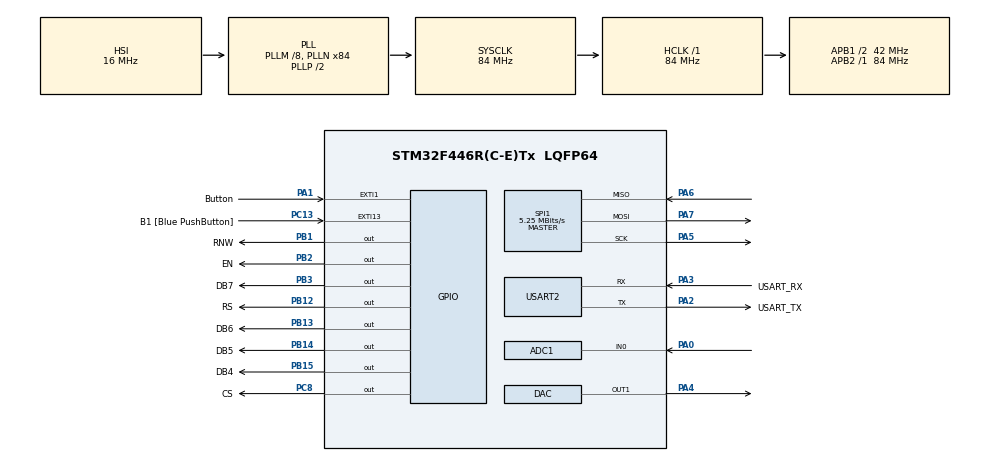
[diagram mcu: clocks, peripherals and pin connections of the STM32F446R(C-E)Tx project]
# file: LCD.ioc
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ADC1.Channel-0\#ChannelRegularConversion=ADC_CHANNEL_0
ADC1.ClockPrescaler=ADC_CLOCK_SYNC_PCLK_DIV8
ADC1.DMAContinuousRequests=ENABLE
ADC1.NbrOfConversionFlag=1
ADC1.Rank-0\#ChannelRegularConversion=1
ADC1.SamplingTime-0\#ChannelRegularConversion=ADC_SAMPLETIME_84CYCLES
ADC1.master=1
DAC.DAC_Trigger=DAC_TRIGGER_T6_TRGO
Dma.ADC1.0.Direction=DMA_PERIPH_TO_MEMORY
Dma.ADC1.0.FIFOMode=DMA_FIFOMODE_DISABLE
Dma.ADC1.0.Instance=DMA2_Stream0
Dma.ADC1.0.MemDataAlignment=DMA_MDATAALIGN_HALFWORD
Dma.ADC1.0.MemInc=DMA_MINC_ENABLE
Dma.ADC1.0.Mode=DMA_CIRCULAR
Dma.ADC1.0.PeriphDataAlignment=DMA_PDATAALIGN_HALFWORD
Dma.ADC1.0.PeriphInc=DMA_PINC_DISABLE
Dma.ADC1.0.Priority=DMA_PRIORITY_LOW
Dma.Request0=ADC1
FATFS._MAX_SS=4096
Mcu.Family=STM32F4
Mcu.Name=STM32F446R(C-E)Tx
Mcu.Package=LQFP64
NVIC.DMA2_Stream0_IRQn=true\:0\:0\:false\:false\:true\:false\:true
NVIC.EXTI15_10_IRQn=true\:0\:0\:false\:false\:true\:true\:true
NVIC.EXTI1_IRQn=true\:0\:0\:false\:false\:true\:true\:true
NVIC.PriorityGroup=NVIC_PRIORITYGROUP_0
NVIC.TIM6_DAC_IRQn=true\:0\:0\:false\:false\:true\:true\:true
PA0-WKUP.Signal=ADCx_IN0
PA1.GPIO_Label=Button
PA1.GPIO_ModeDefaultEXTI=GPIO_MODE_IT_FALLING
PA1.Signal=GPXTI1
PA13.GPIO_Label=TMS
PA13.Mode=Serial_Wire
PA13.Signal=SYS_JTMS-SWDIO
PA14.GPIO_Label=TCK
PA14.Mode=Serial_Wire
PA14.Signal=SYS_JTCK-SWCLK
PA2.GPIO_Label=USART_TX
PA2.Mode=Asynchronous
PA2.Signal=USART2_TX
PA3.GPIO_Label=USART_RX
PA3.Mode=Asynchronous
PA3.Signal=USART2_RX
PA4.Signal=COMP_DAC1_group
PA5.Mode=Full_Duplex_Master
PA5.Signal=SPI1_SCK
PA6.Mode=Full_Duplex_Master
PA6.Signal=SPI1_MISO
PA7.Mode=Full_Duplex_Master
PA7.Signal=SPI1_MOSI
PB1.GPIO_Label=RNW
PB1.Signal=GPIO_Output
PB12.GPIO_Label=RS
PB12.Signal=GPIO_Output
PB13.GPIO_Label=DB6
PB13.Signal=GPIO_Output
PB14.GPIO_Label=DB5
PB14.Signal=GPIO_Output
PB15.GPIO_Label=DB4
PB15.Signal=GPIO_Output
PB2.GPIO_Label=EN
PB2.Signal=GPIO_Output
PB3.GPIO_Label=DB7
PB3.Signal=GPIO_Output
PC13.GPIO_Label=B1 [Blue PushButton]
PC13.GPIO_ModeDefaultEXTI=GPIO_MODE_IT_FALLING
PC13.Signal=GPXTI13
PC14-OSC32_IN.Mode=LSE-External-Oscillator
PC14-OSC32_IN.Signal=RCC_OSC32_IN
PC15-OSC32_OUT.Mode=LSE-External-Oscillator
PC15-OSC32_OUT.Signal=RCC_OSC32_OUT
PC8.GPIO_Label=CS
PC8.Signal=GPIO_Output
PH0-OSC_IN.Mode=HSE-External-Oscillator
PH0-OSC_IN.Signal=RCC_OSC_IN
PH1-OSC_OUT.Mode=HSE-External-Oscillator
PH1-OSC_OUT.Signal=RCC_OSC_OUT
ProjectManager.HeapSize=0x200
ProjectManager.StackSize=0x400
ProjectManager.TargetToolchain=STM32CubeIDE
RCC.48MHZClocksFreq_Value=84000000
RCC.AHBFreq_Value=84000000
RCC.APB1CLKDivider=RCC_HCLK_DIV2
RCC.APB1Freq_Value=42000000
RCC.APB1TimFreq_Value=84000000
RCC.APB2Freq_Value=84000000
RCC.APB2TimFreq_Value=84000000
RCC.CortexFreq_Value=84000000
RCC.FLatency-AdvancedSettings=FLASH_LATENCY_2
RCC.HCLKFreq_Value=84000000
RCC.HSE_VALUE=8000000
RCC.HSI_VALUE=16000000
RCC.PLLM=8
RCC.PLLN=84
RCC.SYSCLKFreq_VALUE=84000000
RCC.SYSCLKSource=RCC_SYSCLKSOURCE_PLLCLK
RCC.USBFreq_Value=84000000
RCC.VCOOutputFreq_Value=168000000
SH.ADCx_IN0.0=ADC1_IN0,IN0
SH.COMP_DAC1_group.0=DAC_OUT1,DAC_OUT1
SPI1.BaudRatePrescaler=SPI_BAUDRATEPRESCALER_16
SPI1.CalculateBaudRate=5.25 MBits/s
SPI1.Direction=SPI_DIRECTION_2LINES
SPI1.Mode=SPI_MODE_MASTER
SPI1.VirtualType=VM_MASTER
TIM6.Period=167
TIM6.Prescaler=20000
TIM6.TIM_MasterOutputTrigger=TIM_TRGO_UPDATE
USART2.VirtualMode=VM_ASYNC
VP_FATFS_VS_Generic.Mode=User_defined
VP_TIM6_VS_ClockSourceINT.Mode=Enable_Timer
board=NUCLEO-F446RE

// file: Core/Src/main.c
/* USER CODE BEGIN Header */
/**
 ******************************************************************************
 * @file           : main.c
 * @brief          : Main program body
 ******************************************************************************
 * @attention
 *
 * <h2><center>&copy; Copyright (c) 2021 STMicroelectronics.
 * All rights reserved.</center></h2>
 *
 * This software component is licensed by ST under BSD 3-Clause license,
 * the "License"; You may not use this file except in compliance with the
 * License. You may obtain a copy of the License at:
 *                        opensource.org/licenses/BSD-3-Clause
 *
 ******************************************************************************
 */
/* USER CODE END Header */
#include "main.h"
#include "fatfs.h"

/* USER CODE BEGIN Includes */
#include "LiquidCrystal.h"
#include "stdio.h"
#include "stm32f4xx_hal.h"
#include "fatfs_sd.h"
#include "string.h"
#include "inttypes.h"
/* USER CODE END Includes */

ADC_HandleTypeDef hadc1;
DMA_HandleTypeDef hdma_adc1;

DAC_HandleTypeDef hdac;

SPI_HandleTypeDef hspi1;

TIM_HandleTypeDef htim6;

UART_HandleTypeDef huart2;

/* USER CODE BEGIN PV */

uint16_t values[] = {2482, 0};
uint16_t i = 0;

FATFS fs; // file system
FIL fil; // file
FILINFO filinfo;
FRESULT fresult; // to store the result
char buffer[1024]; // to store data

char data[7];
char dataStr[100] = "";

UINT br, bw; // file read/write count

/* capacity related variables */
FATFS *pfs;
DWORD fre_clust;
uint32_t total, free_space;

uint16_t value_adc[20];
uint16_t calibrated_adc[20];
uint32_t value_dac = 500;
float adcVal = 0;
float avg = 0;
float voltage = 0;
float resistance = 0;
float storedVal = 0;

/* Button debounce */
uint32_t previous_millis = 0;
uint32_t current_millis = 0;
uint32_t counter = 0;
uint32_t measurement = 0;
uint8_t button_pressed = 0;
uint8_t button_state = 0;

/* custom character */
// byte is not defined here by default
typedef unsigned char byte;

// make some custom characters:
byte ohm[8] = {
		0x0E,
		0x11,
		0x11,
		0x11,
		0x0A,
		0x0A,
		0x1B,
		0x00
};

byte rightarrow[8] = {
		0x00,
		0x04,
		0x06,
		0x1F,
		0x06,
		0x04,
		0x00,
		0x00
};

/* incremental filename */
char FileName[13];

/* USER CODE END PV */

void SystemClock_Config(void);
static void MX_GPIO_Init(void);
static void MX_USART2_UART_Init(void);
static void MX_SPI1_Init(void);
static void MX_DAC_Init(void);
static void MX_DMA_Init(void);
static void MX_ADC1_Init(void);
static void MX_TIM6_Init(void);

/* USER CODE BEGIN 0 */

/* incremental filename */
void get_FileName(char *FileName)
{
	//	send_uart("Test filename \n");
	//	send_uart(FileName);
	//	send_uart(" 1 \n");

	FileName[0] = 'D';
	FileName[1] = 'A';
	FileName[2] = 'T';
	FileName[3] = 'A';
	FileName[4] = '_';
	FileName[5] = '00';
	FileName[6] = '00';
	FileName[7] = '00';
	FileName[8] = '.';
	FileName[9] = 't';
	FileName[10] = 'x';
	FileName[11] = 't';

	//	send_uart(FileName);
	//	send_uart(" 2 \n");

	for(int i = 0; i < 100; i++)
	{
		FileName[5] = (i/100)%10 + '0';
		FileName[6] = (i/10)%10 + '0';
		FileName[7] = i%10 + '0';

		//		send_uart("Looking \n");

		fresult = f_stat(FileName, &filinfo);
		switch (fresult)
		{
		case FR_OK:
			//			send_uart("Exists \n");
			break;

		case FR_NO_FILE:
			//			send_uart("Does not exist \n");
			return;
			break;

		default:
			send_uart("Error occurred\n");
		}

	}
	//	send_uart(FileName);
	//	send_uart(" 3 \n");

}

/* calculate avg adc value
float calcavg(uint16_t value[i])
{
	avg = 0;
	for(int i = 0; i < 20; i++)
	{
		avg = (avg + value[i]) /20;
	}
	return avg;
}
*/
/* DAC callback function */
void HAL_TIM_PeriodElapsedCallback(TIM_HandleTypeDef *htim)
{
	HAL_DAC_Start(&hdac, DAC_CHANNEL_1);
	/*
	HAL_DAC_SetValue(&hdac, DAC_CHANNEL_1, DAC_ALIGN_12B_R, 3784);
	HAL_ADC_Start(&hadc1);
	adcVal = calibrated_adc[0];
	 */

	HAL_DAC_SetValue(&hdac, DAC_CHANNEL_1, DAC_ALIGN_12B_R, values[i]);

	avg = 0;
	for(int k = 0; k < 20; k++)
	{
		avg = (avg + value_adc[k]);
	}

	i++;
	if(i>=2)
	{
		i = 0;
		HAL_ADC_Start(&hadc1);
		adcVal = avg/20;
		//adcVal = calibrated_adc[0];
	}
}

/* to send the data to the uart */
void send_uart(char *string)
{
	uint8_t len = strlen(string);
	HAL_UART_Transmit(&huart2, (uint8_t *)string, len, 2000); // transmit in blocking mode
}

/* to find the size of data in the buffer */
int bufsize(char *buf)
{
	int i = 0;
	while (*buf++ != '\0') i++;
	return i;
}

/* clear buffer */
void bufclear(void)
{
	for(int i = 0; i < 1024; i++)
	{
		buffer[i] = '\0';
	}
}

/* USER CODE END 0 */

int main(void)
{

	/* MCU Configuration--------------------------------------------------------*/

	/* Reset of all peripherals, Initializes the Flash interface and the Systick. */
	HAL_Init();

	/* Configure the system clock */
	SystemClock_Config();

	/* Initialize all configured peripherals */
	MX_GPIO_Init();
	MX_USART2_UART_Init();
	MX_FATFS_Init();
	MX_SPI1_Init();
	MX_DAC_Init();
	MX_DMA_Init();
	MX_ADC1_Init();
	MX_TIM6_Init();
	/* USER CODE BEGIN 2 */

	HAL_TIM_Base_Start_IT(&htim6);

	/* Mount SD Card */
	fresult = f_mount(&fs, "", 0);
	//if(fresult != FR_OK) send_uart("error in mounting SD CARD...\n");
	//else send_uart("SD CARD mounted successfully...\n");

	/************* Card Capacity details *************/

	/* check free space */
	/*f_getfree("", &fre_clust, &pfs);

	total = (uint32_t)((pfs->n_fatent - 2) * pfs->csize * 0.5);
	sprintf(buffer, "SD CARD Total Size: \t%lu\n", total);
	send_uart(buffer);
	bufclear();
	free_space = (uint32_t)(fre_clust * pfs->csize * 0.5);
	sprintf(buffer, "SD CARD Free Space: \t%lu\n", free_space);
	send_uart(buffer);
	 */

	/************* The following operation is using PUTS and GETS *************/

	/* Open file to write/create a file if it doesn't exist
	fresult = f_open(&fil, "file1.txt", FA_OPEN_ALWAYS | FA_READ | FA_WRITE);
	 Writing text
	fresult = f_puts("This data is from the First FILE\n\n", &fil);
	 Close file
	fresult = f_close(&fil);
	send_uart("File1.txt created and the data is written \n");
	 Open file to read
	fresult = f_open(&fil, "file1.txt", FA_READ);
	 Read file info so we can get the file size
	fresult = f_stat("file1.txt", &filinfo);
	 Read string from the file
	f_gets(buffer, filinfo.fsize, &fil);
	send_uart(buffer);
	 Close file
	f_close(&fil);
	bufclear();*/

	/************* The following operation is using f_write and f_read *************/
	get_FileName(FileName);

	/* Create second file with read write access and open it */
	fresult = f_open(&fil, FileName, FA_OPEN_ALWAYS | FA_READ | FA_WRITE);

	/* Writing text */
	strcpy(buffer, "Measurement, Voltage, Resistance \n");

	fresult = f_write(&fil, buffer, bufsize(buffer), &bw);
	//bw is the pointer to the counter for the number of bytes written
	//send_uart("Results.txt created and data is written\n");
	/* Close file */
	f_close(&fil);
	// clearing buffer to show that result obtained is from the file
	bufclear();
	/* Open second file to read */
	fresult = f_open(&fil, FileName, FA_READ);
	/* Read file info so we can get the file size */
	fresult = f_stat(FileName, &filinfo);
	f_read (&fil, buffer, filinfo.fsize, &br);
	//br is the pointer to the count variable for the number of bytes to read from the file
	//send_uart(buffer);
	/* Close file */
	f_close(&fil);
	bufclear();

	// initialize the library by associating any needed LCD interface pin
	LiquidCrystal(GPIOB, GPIO_PIN_12, GPIO_PIN_2, GPIO_PIN_1, GPIO_PIN_15, GPIO_PIN_14, GPIO_PIN_13, GPIO_PIN_3);

	// create a new character
	createChar(0, ohm);
	createChar(1, rightarrow);

	setCursor(0, 0);
	print("POWER ON");
	HAL_Delay(5000);
	setCursor(0, 0);
	print("PRESS TO");
	setCursor(0, 1);
	print(" START ");
	write((1));

	HAL_ADC_Start_DMA(&hadc1, (uint32_t*)&value_adc, 20);

	char str[10];

	/* USER CODE END 2 */

	/* Infinite loop */
	/* USER CODE BEGIN WHILE */
	while (1)
	{
		while(counter >= 1)
		{

			/*for(int i=0; i<20; i++)
			{
			calibrated_adc[i]=(value_adc[i]-11.87515)/1.000297; // remove offset
			}*/

			voltage = adcVal * 3.3 / 4095;
			resistance = (voltage / 0.00001) / 66; //gain van +-66
			resistance = resistance * 1.02255 + 2.7293; //calibrating

			if(button_state == 1)
			{
				// set the cursor to column 0, line 0
				setCursor(0, 0);
				sprintf(str, " %.0f      ", resistance);
				print(str);
				setCursor(0, 1);
				write((0));
				print("       ");
				HAL_Delay(1000);
			}

			if(button_state == 2)
			{
				storedVal = resistance;
				setCursor(0, 0);
				sprintf(str, "%lu:", measurement);
				print(str);
				sprintf(str, "%.0f", storedVal);
				print(str);
				setCursor(0, 1);
				write((0));

				/************* Updating an existing file *************/

				dataStr[0] = 0;

				sprintf(data, "%lu", measurement);
				strcat(dataStr, data);
				strcat(dataStr, ", ");

				sprintf(data, "%0.3f", voltage);
				strcat(dataStr, data);
				strcat(dataStr, ", ");

				sprintf(data, "%0.3f", resistance);
				strcat(dataStr, data);
				strcat(dataStr, "\n");

				/* Open the file with write access */
				fresult = f_open(&fil, FileName, FA_OPEN_ALWAYS | FA_WRITE);
				/* Read file info so we can get the file size */
				fresult = f_stat(FileName, &filinfo);
				/* Move to offset to the end of the file */
				fresult = f_lseek(&fil, filinfo.fsize);
				/* Write the string to the file */
				fresult = f_puts(dataStr, &fil);
				/* Close file */
				f_close(&fil);
				/* Open to read the file */
				fresult = f_open(&fil, FileName, FA_READ);
				/* Read file info so we can get the file size */
				fresult = f_stat(FileName, &filinfo);
				/* Read string from the file */
				f_read(&fil, buffer, filinfo.fsize, &br);
				//send_uart(buffer);
				/* Close file */
				f_close(&fil);
				bufclear();

				button_state = 0;
			}
		}

		/* USER CODE END WHILE */

	}
}

void SystemClock_Config(void)
{
	RCC_OscInitTypeDef RCC_OscInitStruct = {0};
	RCC_ClkInitTypeDef RCC_ClkInitStruct = {0};

	/** Configure the main internal regulator output voltage
	 */
	__HAL_RCC_PWR_CLK_ENABLE();
	__HAL_PWR_VOLTAGESCALING_CONFIG(PWR_REGULATOR_VOLTAGE_SCALE3);
	/** Initializes the RCC Oscillators according to the specified parameters
	 * in the RCC_OscInitTypeDef structure.
	 */
	RCC_OscInitStruct.OscillatorType = RCC_OSCILLATORTYPE_HSI;
	RCC_OscInitStruct.HSIState = RCC_HSI_ON;
	RCC_OscInitStruct.HSICalibrationValue = RCC_HSICALIBRATION_DEFAULT;
	RCC_OscInitStruct.PLL.PLLState = RCC_PLL_ON;
	RCC_OscInitStruct.PLL.PLLSource = RCC_PLLSOURCE_HSI;
	RCC_OscInitStruct.PLL.PLLM = 8;
	RCC_OscInitStruct.PLL.PLLN = 84;
	RCC_OscInitStruct.PLL.PLLP = RCC_PLLP_DIV2;
	RCC_OscInitStruct.PLL.PLLQ = 2;
	RCC_OscInitStruct.PLL.PLLR = 2;
	if (HAL_RCC_OscConfig(&RCC_OscInitStruct) != HAL_OK)
	{
		Error_Handler();
	}
	/** Initializes the CPU, AHB and APB buses clocks
	 */
	RCC_ClkInitStruct.ClockType = RCC_CLOCKTYPE_HCLK|RCC_CLOCKTYPE_SYSCLK
			|RCC_CLOCKTYPE_PCLK1|RCC_CLOCKTYPE_PCLK2;
	RCC_ClkInitStruct.SYSCLKSource = RCC_SYSCLKSOURCE_PLLCLK;
	RCC_ClkInitStruct.AHBCLKDivider = RCC_SYSCLK_DIV1;
	RCC_ClkInitStruct.APB1CLKDivider = RCC_HCLK_DIV2;
	RCC_ClkInitStruct.APB2CLKDivider = RCC_HCLK_DIV1;

	if (HAL_RCC_ClockConfig(&RCC_ClkInitStruct, FLASH_LATENCY_2) != HAL_OK)
	{
		Error_Handler();
	}
}

static void MX_ADC1_Init(void)
{

	ADC_ChannelConfTypeDef sConfig = {0};

	/** Configure the global features of the ADC (Clock, Resolution, Data Alignment and number of conversion)
	 */
	hadc1.Instance = ADC1;
	hadc1.Init.ClockPrescaler = ADC_CLOCK_SYNC_PCLK_DIV8;
	hadc1.Init.Resolution = ADC_RESOLUTION_12B;
	hadc1.Init.ScanConvMode = DISABLE;
	hadc1.Init.ContinuousConvMode = DISABLE;
	hadc1.Init.DiscontinuousConvMode = DISABLE;
	hadc1.Init.ExternalTrigConvEdge = ADC_EXTERNALTRIGCONVEDGE_NONE;
	hadc1.Init.ExternalTrigConv = ADC_SOFTWARE_START;
	hadc1.Init.DataAlign = ADC_DATAALIGN_RIGHT;
	hadc1.Init.NbrOfConversion = 1;
	hadc1.Init.DMAContinuousRequests = ENABLE;
	hadc1.Init.EOCSelection = ADC_EOC_SINGLE_CONV;
	if (HAL_ADC_Init(&hadc1) != HAL_OK)
	{
		Error_Handler();
	}
	/** Configure for the selected ADC regular channel its corresponding rank in the sequencer and its sample time.
	 */
	sConfig.Channel = ADC_CHANNEL_0;
	sConfig.Rank = 1;
	sConfig.SamplingTime = ADC_SAMPLETIME_84CYCLES;
	if (HAL_ADC_ConfigChannel(&hadc1, &sConfig) != HAL_OK)
	{
		Error_Handler();
	}

}

static void MX_DAC_Init(void)
{

	DAC_ChannelConfTypeDef sConfig = {0};

	/** DAC Initialization
	 */
	hdac.Instance = DAC;
	if (HAL_DAC_Init(&hdac) != HAL_OK)
	{
		Error_Handler();
	}
	/** DAC channel OUT1 config
	 */
	sConfig.DAC_Trigger = DAC_TRIGGER_T6_TRGO;
	sConfig.DAC_OutputBuffer = DAC_OUTPUTBUFFER_ENABLE;
	if (HAL_DAC_ConfigChannel(&hdac, &sConfig, DAC_CHANNEL_1) != HAL_OK)
	{
		Error_Handler();
	}

}

static void MX_SPI1_Init(void)
{

	/* SPI1 parameter configuration*/
	hspi1.Instance = SPI1;
	hspi1.Init.Mode = SPI_MODE_MASTER;
	hspi1.Init.Direction = SPI_DIRECTION_2LINES;
	hspi1.Init.DataSize = SPI_DATASIZE_8BIT;
	hspi1.Init.CLKPolarity = SPI_POLARITY_LOW;
	hspi1.Init.CLKPhase = SPI_PHASE_1EDGE;
	hspi1.Init.NSS = SPI_NSS_SOFT;
	hspi1.Init.BaudRatePrescaler = SPI_BAUDRATEPRESCALER_16;
	hspi1.Init.FirstBit = SPI_FIRSTBIT_MSB;
	hspi1.Init.TIMode = SPI_TIMODE_DISABLE;
	hspi1.Init.CRCCalculation = SPI_CRCCALCULATION_DISABLE;
	hspi1.Init.CRCPolynomial = 10;
	if (HAL_SPI_Init(&hspi1) != HAL_OK)
	{
		Error_Handler();
	}

}

static void MX_TIM6_Init(void)
{

	TIM_MasterConfigTypeDef sMasterConfig = {0};

	htim6.Instance = TIM6;
	htim6.Init.Prescaler = 20000;
	htim6.Init.CounterMode = TIM_COUNTERMODE_UP;
	htim6.Init.Period = 167;
	htim6.Init.AutoReloadPreload = TIM_AUTORELOAD_PRELOAD_DISABLE;
	if (HAL_TIM_Base_Init(&htim6) != HAL_OK)
	{
		Error_Handler();
	}
	sMasterConfig.MasterOutputTrigger = TIM_TRGO_UPDATE;
	sMasterConfig.MasterSlaveMode = TIM_MASTERSLAVEMODE_DISABLE;
	if (HAL_TIMEx_MasterConfigSynchronization(&htim6, &sMasterConfig) != HAL_OK)
	{
		Error_Handler();
	}

}

static void MX_USART2_UART_Init(void)
{

	huart2.Instance = USART2;
	huart2.Init.BaudRate = 115200;
	huart2.Init.WordLength = UART_WORDLENGTH_8B;
	huart2.Init.StopBits = UART_STOPBITS_1;
	huart2.Init.Parity = UART_PARITY_NONE;
	huart2.Init.Mode = UART_MODE_TX_RX;
	huart2.Init.HwFlowCtl = UART_HWCONTROL_NONE;
	huart2.Init.OverSampling = UART_OVERSAMPLING_16;
	if (HAL_UART_Init(&huart2) != HAL_OK)
	{
		Error_Handler();
	}

}

static void MX_DMA_Init(void)
{

	/* DMA controller clock enable */
	__HAL_RCC_DMA2_CLK_ENABLE();

	/* DMA interrupt init */
	/* DMA2_Stream0_IRQn interrupt configuration */
	HAL_NVIC_SetPriority(DMA2_Stream0_IRQn, 0, 0);
	HAL_NVIC_EnableIRQ(DMA2_Stream0_IRQn);

}

static void MX_GPIO_Init(void)
{
	GPIO_InitTypeDef GPIO_InitStruct = {0};

	/* GPIO Ports Clock Enable */
	__HAL_RCC_GPIOC_CLK_ENABLE();
	__HAL_RCC_GPIOH_CLK_ENABLE();
	__HAL_RCC_GPIOA_CLK_ENABLE();
	__HAL_RCC_GPIOB_CLK_ENABLE();

	/*Configure GPIO pin Output Level */
	HAL_GPIO_WritePin(GPIOB, RNW_Pin|EN_Pin|RS_Pin|DB6_Pin
			|DB5_Pin|DB4_Pin|DB7_Pin, GPIO_PIN_RESET);

	/*Configure GPIO pin Output Level */
	HAL_GPIO_WritePin(CS_GPIO_Port, CS_Pin, GPIO_PIN_RESET);

	/*Configure GPIO pin : B1_Pin */
	GPIO_InitStruct.Pin = B1_Pin;
	GPIO_InitStruct.Mode = GPIO_MODE_IT_FALLING;
	GPIO_InitStruct.Pull = GPIO_NOPULL;
	HAL_GPIO_Init(B1_GPIO_Port, &GPIO_InitStruct);

	/*Configure GPIO pin : Button_Pin */
	GPIO_InitStruct.Pin = Button_Pin;
	GPIO_InitStruct.Mode = GPIO_MODE_IT_FALLING;
	GPIO_InitStruct.Pull = GPIO_NOPULL;
	HAL_GPIO_Init(Button_GPIO_Port, &GPIO_InitStruct);

	/*Configure GPIO pins : RNW_Pin EN_Pin RS_Pin DB6_Pin
                           DB5_Pin DB4_Pin DB7_Pin */
	GPIO_InitStruct.Pin = RNW_Pin|EN_Pin|RS_Pin|DB6_Pin
			|DB5_Pin|DB4_Pin|DB7_Pin;
	GPIO_InitStruct.Mode = GPIO_MODE_OUTPUT_PP;
	GPIO_InitStruct.Pull = GPIO_NOPULL;
	GPIO_InitStruct.Speed = GPIO_SPEED_FREQ_LOW;
	HAL_GPIO_Init(GPIOB, &GPIO_InitStruct);

	/*Configure GPIO pin : CS_Pin */
	GPIO_InitStruct.Pin = CS_Pin;
	GPIO_InitStruct.Mode = GPIO_MODE_OUTPUT_PP;
	GPIO_InitStruct.Pull = GPIO_NOPULL;
	GPIO_InitStruct.Speed = GPIO_SPEED_FREQ_LOW;
	HAL_GPIO_Init(CS_GPIO_Port, &GPIO_InitStruct);

	/* EXTI interrupt init*/
	HAL_NVIC_SetPriority(EXTI1_IRQn, 0, 0);
	HAL_NVIC_EnableIRQ(EXTI1_IRQn);

	HAL_NVIC_SetPriority(EXTI15_10_IRQn, 0, 0);
	HAL_NVIC_EnableIRQ(EXTI15_10_IRQn);

}

/* USER CODE BEGIN 4 */
void HAL_ADC_ConvHalfCpltCallback(ADC_HandleTypeDef* hadc1)
{
	__NOP();
}
//conversion complete callback in non-blocking mode
void HAL_ADC_ConvCpltCallback(ADC_HandleTypeDef* hadc1)
{
	__NOP();
}

void HAL_GPIO_EXTI_Callback(uint16_t GPIO_Pin)
{
	current_millis = HAL_GetTick();
	if ((GPIO_Pin == GPIO_PIN_13 || GPIO_Pin == GPIO_PIN_1) && (current_millis - previous_millis > 10))
	{
		counter++;
		button_pressed = 1;
		previous_millis = current_millis;

		if(button_pressed == 1 && button_state == 0)
		{
			button_state = 1;
			button_pressed = 0;
		}

		if(button_pressed == 1 && button_state == 1)
		{
			measurement++;
			button_state = 2;
			button_pressed = 0;
		}
	}
}

/* USER CODE END 4 */

void Error_Handler(void)
{
	__disable_irq();
	while (1)
	{
	}
}

/************************ (C) COPYRIGHT STMicroelectronics *****END OF FILE****/
